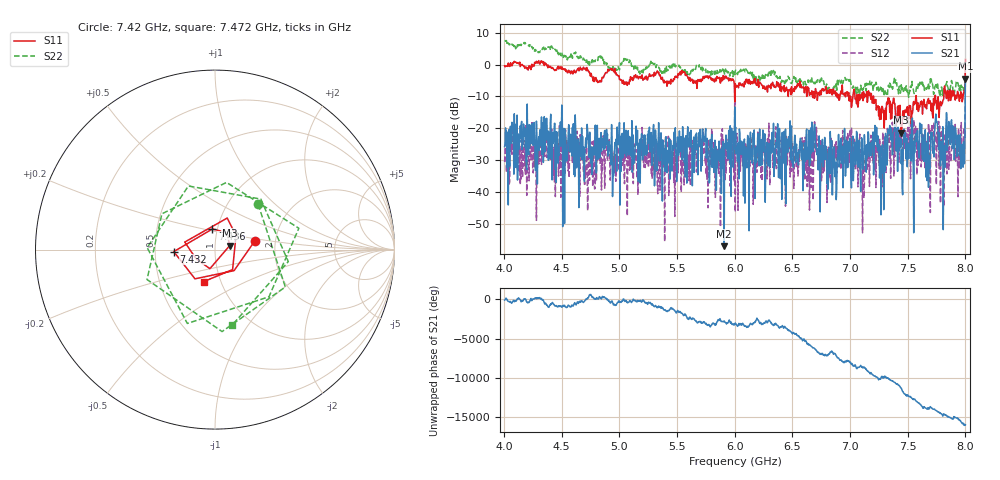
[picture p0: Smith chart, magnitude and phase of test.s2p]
# Hz S RI R 50
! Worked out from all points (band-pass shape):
!   1000 points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, 4.004 GHz to 8 GHz, reference 50 ohm
!   highest |S21| = -4.45 dB at 8 GHz (marker M1); lowest = -57.0 dB at 5.908 GHz (marker M2)
!   |S21| within 3 dB of the highest: 7.999314 GHz to end of sweep
!   lowest |S11| = -21.4 dB at 7.444 GHz (marker M3), VSWR 1.19, Z = 58.9 + j2.68 ohm
!   |S11| at or under -10 dB: 7.204 GHz to 7.571 GHz (366.9 MHz wide, 4.97 % of centre); 7.573 GHz to 7.735 GHz (162.7 MHz wide, 2.13 % of centre); 7.741 GHz to 7.813 GHz (72.29 MHz wide, 0.93 % of centre) (the widest 3 of 31)
!   |S22| runs from -10.3 to 7.6 dB; largest |S21 - S12| = 0.8
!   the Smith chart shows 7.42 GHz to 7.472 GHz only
!   S11 on the Smith chart (normalised r, x): 7.42 GHz: 1.56, +0.15; 7.432 GHz: 0.63, -0.01; 7.436 GHz: 0.95, +0.22; 7.472 GHz: 0.83, -0.31
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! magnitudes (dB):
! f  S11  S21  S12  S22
! 4.004 GHz  -0.4  -25.8  -30.6  7.6
! 4.672 GHz  -1.6  -19.9  -28.7  2.0
! 5.336 GHz  -2.7  -26.4  -36.7  -0.9
! 5.908 GHz  -3.8  -57.0  -24.9  -2.5
! 6.004 GHz  -6.0  -20.3  -46.2  -2.1
! 6.104 GHz  -4.5  -32.4  -31.6  -1.8
! 6.668 GHz  -8.2  -18.1  -28.8  -4.3
! 6.712 GHz  -8.6  -28.3  -23.0  -5.6
! 6.864 GHz  -9.1  -26.0  -27.4  -6.7
! 7.228 GHz  -14.3  -19.7  -28.4  -5.9
! 7.276 GHz  -13.1  -34.1  -38.4  -8.3
! 7.336 GHz  -10.5  -21.7  -24.3  -6.4
! 7.42 GHz  -12.9  -27.4  -20.2  -9.2
! 7.432 GHz  -12.8  -23.1  -23.8  -7.7
! 7.436 GHz  -18.7  -25.8  -22.6  -9.0
! 7.444 GHz  -21.4  -31.1  -22.2  -6.3
! 7.472 GHz  -14.4  -24.2  -26.5  -7.3
! 7.752 GHz  -14.0  -17.8  -24.4  -7.2
! 7.804 GHz  -11.4  -19.5  -31.1  -7.9
! 7.936 GHz  -8.9  -22.1  -41.5  -5.8
! 7.976 GHz  -11.0  -25.5  -30.2  -6.6
! 8 GHz  1.6  -4.4  0.1  -4.2
